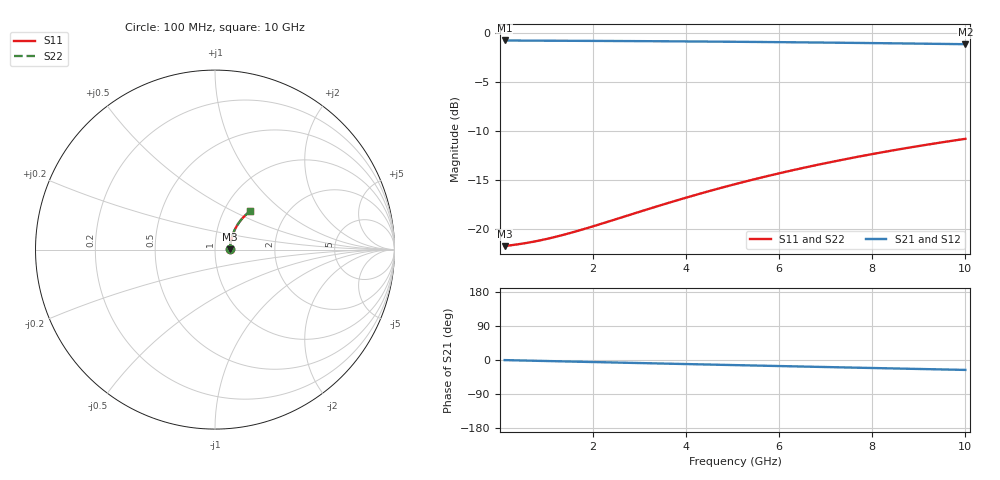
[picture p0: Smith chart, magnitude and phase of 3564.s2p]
# Hz S RI R 50.00
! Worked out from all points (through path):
!   100 points, 100 MHz to 10 GHz, reference 50 ohm
!   highest |S21| = -0.74 dB at 100 MHz (marker M1); lowest = -1.1 dB at 10 GHz (marker M2)
!   group delay of S21, straight-line fit = 7.28 ps
!   lowest |S11| = -21.8 dB at 100 MHz (marker M3), VSWR 1.18, Z = 58.9 + j0.306 ohm
!   |S11| at or under -10 dB: start of sweep to end of sweep
!   |S22| runs from -21.8 to -10.8 dB; largest |S21 - S12| = 0
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1e8  0.0815 0.00258  0.9185 -0.00432  0.9185 -0.00432  0.0815 0.00258
5e8  0.0831 0.0128  0.9168 -0.0215  0.9168 -0.0215  0.0831 0.0128
7e8  0.0838 0.0179  0.9161 -0.0301  0.9161 -0.0301  0.0838 0.0179
9e8  0.0845 0.023  0.9153 -0.0387  0.9153 -0.0387  0.0845 0.023
1.1e9  0.0853 0.0281  0.9145 -0.0473  0.9145 -0.0473  0.0853 0.0281
1.3e9  0.0861 0.0332  0.9136 -0.0558  0.9136 -0.0558  0.0861 0.0332
1.5e9  0.087 0.0382  0.9126 -0.0643  0.9126 -0.0643  0.087 0.0382
1.8e9  0.0885 0.0457  0.9109 -0.0771  0.9109 -0.0771  0.0885 0.0457
2.6e9  0.0934 0.0655  0.9055 -0.1108  0.9055 -0.1108  0.0934 0.0655
3.4e9  0.0995 0.0848  0.8986 -0.1441  0.8986 -0.1441  0.0995 0.0848
3.9e9  0.1041 0.0966  0.8935 -0.1646  0.8935 -0.1646  0.1041 0.0966
4.3e9  0.1081 0.1058  0.889 -0.1808  0.889 -0.1808  0.1081 0.1058
4.7e9  0.1124 0.1149  0.8841 -0.1968  0.8841 -0.1968  0.1124 0.1149
5.1e9  0.117 0.1237  0.8788 -0.2127  0.8788 -0.2127  0.117 0.1237
5.5e9  0.122 0.1324  0.8732 -0.2283  0.8732 -0.2283  0.122 0.1324
5.9e9  0.1272 0.1408  0.8672 -0.2438  0.8672 -0.2438  0.1272 0.1408
6.3e9  0.1327 0.149  0.8609 -0.259  0.8609 -0.259  0.1327 0.149
6.7e9  0.1385 0.157  0.8543 -0.2739  0.8543 -0.2739  0.1385 0.157
7.5e9  0.1508 0.1722  0.8401 -0.3031  0.8401 -0.3031  0.1508 0.1722
8.4e9  0.1658 0.188  0.8228 -0.3348  0.8228 -0.3348  0.1658 0.188
9.2e9  0.1801 0.2008  0.8063 -0.3617  0.8063 -0.3617  0.1801 0.2008
1e10  0.195 0.2125  0.7889 -0.3875  0.7889 -0.3875  0.195 0.2125
